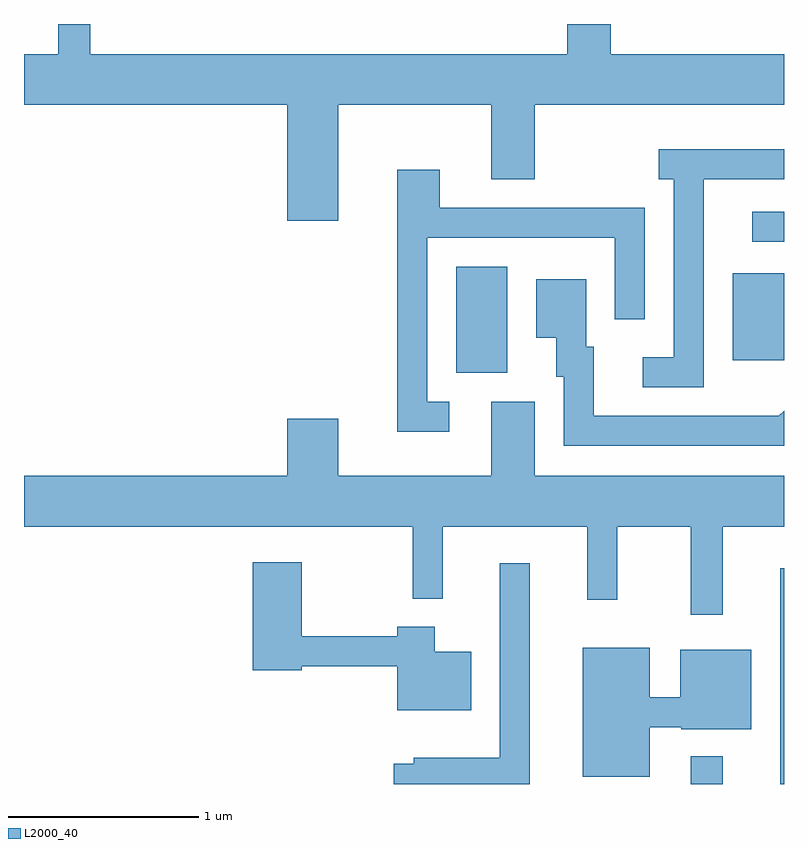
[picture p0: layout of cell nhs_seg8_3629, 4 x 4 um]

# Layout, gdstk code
import gdstk
lib = gdstk.Library(unit=1e-6, precision=1e-09)
def R(c, l, rs):  # rectangles x0, y0, x1, y1
    for r in rs: c.add(gdstk.rectangle(r[:2], r[2:], *l))
def P(c, l, *ps):  # polygons
    for p in ps: c.add(gdstk.Polygon(p, *l))
L2000_40 = (2000, 40)

nhs_seg8_3629 = lib.new_cell('nhs_seg8_3629')
R(nhs_seg8_3629, L2000_40, [(297.121,1888.342,297.289,1888.488), (297.591,1888.342,297.611,1889.478), (295.886,1890.506,296.154,1891.064), (297.341,1890.571,297.611,1891.029), (297.443,1891.196,297.611,1891.354)])
P(nhs_seg8_3629, L2000_40, [(293.959,1892.342),(293.791,1892.342),(293.791,1892.184),(293.611,1892.184),(293.611,1891.916),(294.996,1891.916),(294.996,1891.306),(295.264,1891.306),(295.264,1891.916),(296.071,1891.916),(296.071,1891.526),(296.299,1891.526),(296.299,1891.916),(297.611,1891.916),(297.611,1892.184),(296.699,1892.184),(296.699,1892.342),(296.471,1892.342),(296.471,1892.184),(293.959,1892.184)],
  [(297.544,1892.342),(296.923,1892.342),(296.924,1892.341),(297.544,1892.341)],
  [(297.189,1891.526),(297.611,1891.526),(297.611,1891.684),(296.953,1891.684),(296.953,1891.526),(297.031,1891.526),(297.031,1890.589),(296.868,1890.589),(296.868,1890.431),(297.189,1890.431)],
  [(295.848,1890.354),(295.734,1890.354),(295.734,1891.216),(296.721,1891.216),(296.721,1890.788),(296.879,1890.788),(296.879,1891.374),(295.799,1891.374),(295.799,1891.574),(295.576,1891.574),(295.576,1890.196),(295.848,1890.196)],
  [(297.611,1890.306),(297.584,1890.279),(296.609,1890.279),(296.609,1890.644),(296.569,1890.644),(296.569,1890.999),(296.306,1890.999),(296.306,1890.691),(296.411,1890.691),(296.411,1890.486),(296.451,1890.486),(296.451,1890.121),(297.611,1890.121)],
  [(297.289,1889.696),(297.611,1889.696),(297.611,1889.964),(296.299,1889.964),(296.299,1890.354),(296.071,1890.354),(296.071,1889.964),(295.264,1889.964),(295.264,1890.264),(294.996,1890.264),(294.996,1889.964),(293.611,1889.964),(293.611,1889.696),(295.656,1889.696),(295.656,1889.318),(295.814,1889.318),(295.814,1889.696),(296.576,1889.696),(296.576,1889.313),(296.734,1889.313),(296.734,1889.696),(297.121,1889.696),(297.121,1889.233),(297.289,1889.233)],
  [(295.964,1889.039),(295.774,1889.039),(295.774,1889.169),(295.576,1889.169),(295.576,1889.119),(295.074,1889.119),(295.074,1889.509),(294.816,1889.509),(294.816,1888.941),(295.074,1888.941),(295.074,1888.961),(295.576,1888.961),(295.576,1888.731),(295.964,1888.731)],
  [(296.274,1889.503),(296.116,1889.503),(296.116,1888.479),(295.661,1888.479),(295.661,1888.449),(295.556,1888.449),(295.556,1888.342),(296.274,1888.342)],
  [(296.904,1888.641),(297.07,1888.641),(297.07,1888.631),(297.439,1888.631),(297.439,1889.049),(297.066,1889.049),(297.066,1888.799),(296.904,1888.799),(296.904,1889.059),(296.551,1889.059),(296.551,1888.381),(296.904,1888.381)])

lib.write_gds('nhs_seg8_3629.gds')
